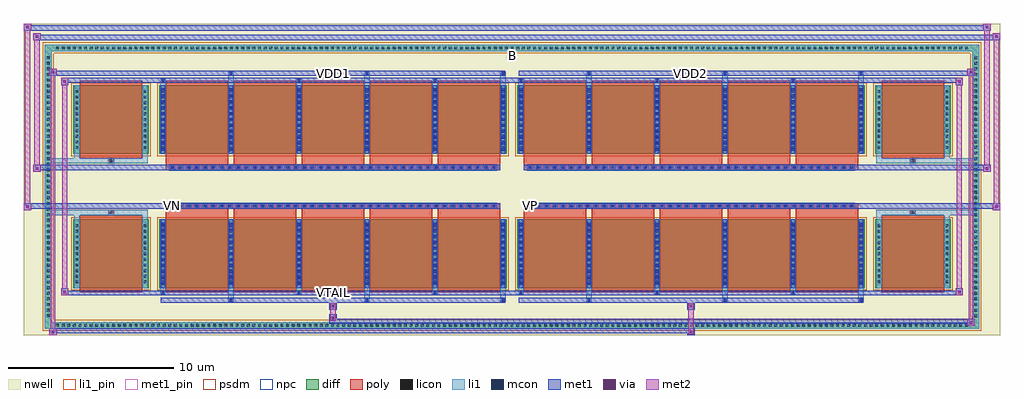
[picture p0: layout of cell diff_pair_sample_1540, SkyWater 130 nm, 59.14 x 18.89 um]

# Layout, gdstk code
import gdstk
lib = gdstk.Library(unit=1e-6, precision=5e-09)
def R(c, l, rs):  # rectangles x0, y0, x1, y1
    for r in rs: c.add(gdstk.rectangle(r[:2], r[2:], *l))
def A(c, l, x, y, w, h, nx, ny, dx, dy):  # array of equal rectangles
    R(c, l, [(x+i*dx, y+j*dy, x+i*dx+w, y+j*dy+h) for i in range(nx) for j in range(ny)])
def P(c, l, *ps):  # polygons
    for p in ps: c.add(gdstk.Polygon(p, *l))
nwell = (64, 20)
diff = (65, 20)
poly = (66, 20)
licon = (66, 44)
li1_pin = (67, 16)
li1 = (67, 20)
mcon = (67, 44)
met1_pin = (68, 16)
met1 = (68, 20)
via = (68, 44)
met2 = (69, 20)
psdm = (94, 20)
npc = (95, 20)

diff_pair_sample_1540 = lib.new_cell('diff_pair_sample_1540')
R(diff_pair_sample_1540, nwell, [(-29.57,-9.01,29.57,9.88), (-26.89,-7.2,-0.01,-0.8), (0.01,-7.2,26.89,-0.8), (-26.89,0.8,-0.01,7.2), (0.01,0.8,26.89,7.2)])
A(diff_pair_sample_1540, diff, -27.745, -8.61, 0.41, 0.41, 163, 2, 0.34, 16.81)
A(diff_pair_sample_1540, diff, -28.3, -8.025, 0.41, 0.41, 1, 47, 0, 0.34)
A(diff_pair_sample_1540, diff, 27.89, -8.025, 0.41, 0.41, 1, 47, 0, 0.34)
R(diff_pair_sample_1540, diff, [(-27.745,-8.61,27.745,-8.2), (-28.3,-8.025,-27.89,8.025), (27.89,-8.025,28.3,8.025), (-26.58,-6.155,-22.01,-1.985), (-21.37,-6.155,-0.32,-1.985), (0.32,-6.155,21.37,-1.985), (22.01,-6.155,26.58,-1.985), (-26.58,1.985,-22.01,6.155), (-21.37,1.985,-0.32,6.155), (0.32,1.985,21.37,6.155), (22.01,1.985,26.58,6.155), (-27.745,8.2,27.745,8.61)])
P(diff_pair_sample_1540, diff, [(28.3,8.61),(-28.3,8.61),(-28.3,-8.2),(-27.89,-8.2),(-27.89,8.2),(27.89,8.2),(27.89,-8.2),(-27.89,-8.2),(-28.3,-8.2),(-28.3,-8.61),(28.3,-8.61)])
A(diff_pair_sample_1540, poly, -20.98, -6.405, 3.79, 4.67, 5, 2, 4.12, 8.14)
A(diff_pair_sample_1540, poly, 0.71, -6.405, 3.79, 4.67, 5, 2, 4.12, 8.14)
A(diff_pair_sample_1540, poly, -20.98, -1.735, 3.79, 0.405, 5, 2, 4.12, 3.065)
A(diff_pair_sample_1540, poly, 0.71, -1.735, 3.79, 0.405, 5, 2, 4.12, 3.065)
A(diff_pair_sample_1540, poly, -20.76, -1.33, 0.33, 0.33, 40, 2, 0.5, 2.33)
A(diff_pair_sample_1540, poly, 0.93, -1.33, 0.33, 0.33, 40, 2, 0.5, 2.33)
R(diff_pair_sample_1540, poly, [(-26.19,-6.405,-22.4,-1.735), (22.4,-6.405,26.19,-1.735), (-24.46,-1.735,-24.13,-1.405), (-24.46,-1.735,-24.13,-1.405), (24.13,-1.735,24.46,-1.405), (24.13,-1.735,24.46,-1.405), (-20.98,-1.33,-0.71,-1), (0.71,-1.33,20.98,-1), (-20.98,1,-0.71,1.33), (0.71,1,20.98,1.33), (-24.46,1.405,-24.13,1.735), (-24.46,1.405,-24.13,1.735), (24.13,1.405,24.46,1.735), (24.13,1.405,24.46,1.735), (-26.19,1.735,-22.4,6.405), (22.4,1.735,26.19,6.405)])
A(diff_pair_sample_1540, licon, -27.625, -8.49, 0.17, 0.17, 163, 2, 0.34, 16.81)
A(diff_pair_sample_1540, licon, -28.18, -7.905, 0.17, 0.17, 1, 47, 0, 0.34)
A(diff_pair_sample_1540, licon, 28.01, -7.905, 0.17, 0.17, 1, 47, 0, 0.34)
A(diff_pair_sample_1540, licon, -26.44, -5.855, 0.17, 0.17, 1, 11, 0, 0.34)
A(diff_pair_sample_1540, licon, -22.32, -5.855, 0.17, 0.17, 1, 11, 0, 0.34)
A(diff_pair_sample_1540, licon, -21.23, -5.855, 0.17, 0.17, 6, 11, 4.12, 0.34)
A(diff_pair_sample_1540, licon, 0.46, -5.855, 0.17, 0.17, 6, 11, 4.12, 0.34)
A(diff_pair_sample_1540, licon, 22.15, -5.855, 0.17, 0.17, 1, 11, 0, 0.34)
A(diff_pair_sample_1540, licon, 26.27, -5.855, 0.17, 0.17, 1, 11, 0, 0.34)
A(diff_pair_sample_1540, licon, -20.68, -1.25, 0.17, 0.17, 40, 2, 0.5, 2.33)
A(diff_pair_sample_1540, licon, 1.01, -1.25, 0.17, 0.17, 40, 2, 0.5, 2.33)
A(diff_pair_sample_1540, licon, -26.44, 2.285, 0.17, 0.17, 1, 11, 0, 0.34)
A(diff_pair_sample_1540, licon, -22.32, 2.285, 0.17, 0.17, 1, 11, 0, 0.34)
A(diff_pair_sample_1540, licon, -21.23, 2.285, 0.17, 0.17, 6, 11, 4.12, 0.34)
A(diff_pair_sample_1540, licon, 0.46, 2.285, 0.17, 0.17, 6, 11, 4.12, 0.34)
A(diff_pair_sample_1540, licon, 22.15, 2.285, 0.17, 0.17, 1, 11, 0, 0.34)
A(diff_pair_sample_1540, licon, 26.27, 2.285, 0.17, 0.17, 1, 11, 0, 0.34)
R(diff_pair_sample_1540, licon, [(-24.38,-1.655,-24.21,-1.485), (24.21,-1.655,24.38,-1.485), (-24.38,1.485,-24.21,1.655), (24.21,1.485,24.38,1.655)])
R(diff_pair_sample_1540, li1_pin, [(-0.25,7.7,0.25,8.2)])
A(diff_pair_sample_1540, li1, -27.705, -8.57, 0.33, 0.33, 163, 2, 0.34, 16.81)
A(diff_pair_sample_1540, li1, -28.26, -7.985, 0.33, 0.33, 1, 47, 0, 0.34)
A(diff_pair_sample_1540, li1, 27.93, -7.985, 0.33, 0.33, 1, 47, 0, 0.34)
A(diff_pair_sample_1540, li1, -17.19, -6.96, 0.33, 0.805, 3, 2, 8.24, 13.115)
A(diff_pair_sample_1540, li1, -17.11, -6.96, 0.17, 0.17, 3, 2, 8.24, 13.75)
A(diff_pair_sample_1540, li1, 4.5, -6.96, 0.33, 0.805, 3, 2, 8.24, 13.115)
A(diff_pair_sample_1540, li1, 4.58, -6.96, 0.17, 0.17, 3, 2, 8.24, 13.75)
A(diff_pair_sample_1540, li1, -21.31, -6.53, 0.33, 0.375, 3, 2, 8.24, 12.685)
A(diff_pair_sample_1540, li1, -21.23, -6.53, 0.17, 0.17, 3, 2, 8.24, 12.89)
A(diff_pair_sample_1540, li1, 0.38, -6.53, 0.33, 0.375, 3, 2, 8.24, 12.685)
A(diff_pair_sample_1540, li1, 0.46, -6.53, 0.17, 0.17, 3, 2, 8.24, 12.89)
A(diff_pair_sample_1540, li1, -21.31, -6.155, 0.33, 4.17, 6, 2, 4.12, 8.14)
A(diff_pair_sample_1540, li1, 0.38, -6.155, 0.33, 4.17, 6, 2, 4.12, 8.14)
A(diff_pair_sample_1540, li1, -21.23, -5.955, 0.17, 0.17, 6, 11, 4.12, 0.36)
A(diff_pair_sample_1540, li1, -21.23, -5.955, 0.17, 3.77, 6, 2, 4.12, 8.14)
A(diff_pair_sample_1540, li1, 0.46, -5.955, 0.17, 0.17, 6, 11, 4.12, 0.36)
A(diff_pair_sample_1540, li1, 0.46, -5.955, 0.17, 3.77, 6, 2, 4.12, 8.14)
A(diff_pair_sample_1540, li1, -26.52, -5.935, 0.33, 0.33, 1, 11, 0, 0.34)
A(diff_pair_sample_1540, li1, -22.4, -5.935, 0.33, 0.33, 1, 11, 0, 0.34)
A(diff_pair_sample_1540, li1, -21.31, -5.935, 0.33, 0.33, 6, 11, 4.12, 0.34)
A(diff_pair_sample_1540, li1, 0.38, -5.935, 0.33, 0.33, 6, 11, 4.12, 0.34)
A(diff_pair_sample_1540, li1, 22.07, -5.935, 0.33, 0.33, 1, 11, 0, 0.34)
A(diff_pair_sample_1540, li1, 26.19, -5.935, 0.33, 0.33, 1, 11, 0, 0.34)
A(diff_pair_sample_1540, li1, -20.76, -1.33, 0.33, 0.33, 40, 2, 0.5, 2.33)
A(diff_pair_sample_1540, li1, 0.93, -1.33, 0.33, 0.33, 40, 2, 0.5, 2.33)
A(diff_pair_sample_1540, li1, -21.23, 2.185, 0.17, 0.17, 6, 11, 4.12, 0.36)
A(diff_pair_sample_1540, li1, 0.46, 2.185, 0.17, 0.17, 6, 11, 4.12, 0.36)
A(diff_pair_sample_1540, li1, -26.52, 2.205, 0.33, 0.33, 1, 11, 0, 0.34)
A(diff_pair_sample_1540, li1, -22.4, 2.205, 0.33, 0.33, 1, 11, 0, 0.34)
A(diff_pair_sample_1540, li1, -21.31, 2.205, 0.33, 0.33, 6, 11, 4.12, 0.34)
A(diff_pair_sample_1540, li1, 0.38, 2.205, 0.33, 0.33, 6, 11, 4.12, 0.34)
A(diff_pair_sample_1540, li1, 22.07, 2.205, 0.33, 0.33, 1, 11, 0, 0.34)
A(diff_pair_sample_1540, li1, 26.19, 2.205, 0.33, 0.33, 1, 11, 0, 0.34)
R(diff_pair_sample_1540, li1, [(-28.3,-8.61,-27.89,-8.2), (-28.3,-8.61,-27.89,-8.2), (-27.89,-8.61,27.89,-8.2), (27.89,-8.61,28.3,-8.2), (27.89,-8.61,28.3,-8.2), (-28.3,-8.2,-27.89,8.2), (27.89,-8.2,28.3,8.2), (-26.52,-6.155,-26.19,-1.985), (-22.4,-6.155,-22.07,-1.985), (22.07,-6.155,22.4,-1.985), (26.19,-6.155,26.52,-1.985), (-26.52,-1.985,-26.19,-1.405), (-22.4,-1.985,-22.07,-1.405), (22.07,-1.985,22.4,-1.405), (26.19,-1.985,26.52,-1.405), (-28.3,-1.735,-24.46,-1.405), (-26.52,-1.735,-24.46,-1.405), (-24.46,-1.735,-24.13,-1.405), (-24.13,-1.735,-22.07,-1.405), (22.07,-1.735,24.13,-1.405), (24.13,-1.735,24.46,-1.405), (24.13,-1.735,28.3,-1.405), (24.46,-1.735,26.52,-1.405), (-28.3,1.405,-24.46,1.735), (-26.52,1.405,-24.46,1.735), (-26.52,1.405,-26.19,1.985), (-24.46,1.405,-24.13,1.735), (-24.13,1.405,-22.07,1.735), (-22.4,1.405,-22.07,1.985), (22.07,1.405,24.13,1.735), (22.07,1.405,22.4,1.985), (24.13,1.405,24.46,1.735), (24.13,1.405,28.3,1.735), (24.46,1.405,26.52,1.735), (26.19,1.405,26.52,1.985), (-26.52,1.985,-26.19,6.155), (-22.4,1.985,-22.07,6.155), (22.07,1.985,22.4,6.155), (26.19,1.985,26.52,6.155), (-28.3,8.2,-27.89,8.61), (-28.3,8.2,-27.89,8.61), (-27.89,8.2,27.89,8.61), (27.89,8.2,28.3,8.61), (27.89,8.2,28.3,8.61)])
A(diff_pair_sample_1540, mcon, -17.11, -6.96, 0.17, 0.17, 3, 2, 8.24, 13.75)
A(diff_pair_sample_1540, mcon, 4.58, -6.96, 0.17, 0.17, 3, 2, 8.24, 13.75)
A(diff_pair_sample_1540, mcon, -21.23, -6.53, 0.17, 0.17, 3, 2, 8.24, 12.89)
A(diff_pair_sample_1540, mcon, 0.46, -6.53, 0.17, 0.17, 3, 2, 8.24, 12.89)
A(diff_pair_sample_1540, mcon, -21.23, -5.955, 0.17, 0.17, 6, 11, 4.12, 0.36)
A(diff_pair_sample_1540, mcon, 0.46, -5.955, 0.17, 0.17, 6, 11, 4.12, 0.36)
A(diff_pair_sample_1540, mcon, -20.68, -1.25, 0.17, 0.17, 40, 2, 0.5, 2.33)
A(diff_pair_sample_1540, mcon, 1.01, -1.25, 0.17, 0.17, 40, 2, 0.5, 2.33)
A(diff_pair_sample_1540, mcon, -21.23, 2.185, 0.17, 0.17, 6, 11, 4.12, 0.36)
A(diff_pair_sample_1540, mcon, 0.46, 2.185, 0.17, 0.17, 6, 11, 4.12, 0.36)
R(diff_pair_sample_1540, met1_pin, [(-10.98,-6.57,-10.71,-6.3), (-20.73,-1.29,-20.46,-1.02), (0.96,-1.29,1.23,-1.02), (-10.98,6.75,-10.71,7.02), (10.71,6.75,10.98,7.02)])
A(diff_pair_sample_1540, met1, -17.17, -7.02, 0.29, 0.29, 3, 2, 8.24, 13.75)
A(diff_pair_sample_1540, met1, 4.52, -7.02, 0.29, 0.29, 3, 2, 8.24, 13.75)
A(diff_pair_sample_1540, met1, -21.29, -6.59, 0.29, 0.29, 3, 2, 8.24, 12.89)
A(diff_pair_sample_1540, met1, 0.4, -6.59, 0.29, 0.29, 3, 2, 8.24, 12.89)
A(diff_pair_sample_1540, met1, -21.29, -6.155, 0.29, 4.17, 6, 2, 4.12, 8.14)
A(diff_pair_sample_1540, met1, 0.4, -6.155, 0.29, 4.17, 6, 2, 4.12, 8.14)
A(diff_pair_sample_1540, met1, -21.29, -6.015, 0.29, 0.29, 6, 11, 4.12, 0.36)
A(diff_pair_sample_1540, met1, 0.4, -6.015, 0.29, 0.29, 6, 11, 4.12, 0.36)
A(diff_pair_sample_1540, met1, -20.74, -1.31, 0.29, 0.29, 40, 2, 0.5, 2.33)
A(diff_pair_sample_1540, met1, 0.95, -1.31, 0.29, 0.29, 40, 2, 0.5, 2.33)
A(diff_pair_sample_1540, met1, -21.29, 2.125, 0.29, 0.29, 6, 11, 4.12, 0.36)
A(diff_pair_sample_1540, met1, 0.4, 2.125, 0.29, 0.29, 6, 11, 4.12, 0.36)
R(diff_pair_sample_1540, met1, [(-28.03,-9.01,-27.6,-8.58), (10.63,-9.01,11.06,-8.58), (-28.03,-8.87,11.06,-8.58), (27.6,-8.44,28.03,-8.01), (-11.06,-8.3,28.03,-8.01), (-11.06,-8.16,-10.63,-7.73), (-11.06,-7.45,-10.63,-7.02), (10.63,-7.45,11.06,-7.02), (-21.29,-7.02,-0.4,-6.73), (0.4,-7.02,21.29,-6.73), (-27.32,-6.59,-26.89,-6.16), (-27.32,-6.59,-21.29,-6.3), (-21.29,-6.59,-0.4,-6.3), (-0.4,-6.59,0.4,-6.3), (0.4,-6.59,21.29,-6.3), (21.29,-6.59,27.32,-6.3), (26.89,-6.59,27.32,-6.16), (-29.57,-1.43,-29.14,-1), (29.14,-1.43,29.57,-1), (-29.57,-1.33,-0.71,-1), (-20.98,-1.33,-0.71,-1), (0.71,-1.33,20.98,-1), (0.71,-1.33,29.57,-1), (-29,0.9,-28.57,1.33), (28.57,0.9,29,1.33), (-29,1,-20.98,1.33), (-20.98,1,-0.71,1.33), (0.71,1,20.98,1.33), (20.98,1,29,1.33), (-27.32,6.16,-26.89,6.59), (26.89,6.16,27.32,6.59), (-27.32,6.3,-21.29,6.59), (-21.29,6.3,-0.4,6.59), (-0.4,6.3,0.4,6.59), (0.4,6.3,21.29,6.59), (21.29,6.3,27.32,6.59), (-28.03,6.73,-27.6,7.16), (-28.03,6.73,-21.29,7.02), (-21.29,6.73,-0.4,7.02), (0.4,6.73,21.29,7.02), (21.29,6.73,28.03,7.02), (27.6,6.73,28.03,7.16), (-29,8.88,-28.57,9.31), (-29,8.88,-26.89,9.21), (-26.89,8.88,26.89,9.21), (26.89,8.88,29.57,9.21), (29.14,8.88,29.57,9.31), (-29.57,9.45,-29.14,9.88), (-29.57,9.45,-26.89,9.78), (-26.89,9.45,26.89,9.78), (26.89,9.45,29,9.78), (28.57,9.45,29,9.88)])
R(diff_pair_sample_1540, via, [(-27.89,-8.87,-27.74,-8.72), (10.77,-8.87,10.92,-8.72), (27.74,-8.3,27.89,-8.15), (-10.92,-8.02,-10.77,-7.87), (-10.92,-7.31,-10.77,-7.16), (10.77,-7.31,10.92,-7.16), (-27.18,-6.45,-27.03,-6.3), (27.03,-6.45,27.18,-6.3), (-29.43,-1.29,-29.28,-1.14), (29.28,-1.29,29.43,-1.14), (-28.86,1.04,-28.71,1.19), (28.71,1.04,28.86,1.19), (-27.18,6.3,-27.03,6.45), (27.03,6.3,27.18,6.45), (-27.89,6.87,-27.74,7.02), (27.74,6.87,27.89,7.02), (-28.86,9.02,-28.71,9.17), (29.28,9.02,29.43,9.17), (-29.43,9.59,-29.28,9.74), (28.71,9.59,28.86,9.74)])
R(diff_pair_sample_1540, met2, [(-28.03,-9.01,-27.6,-8.58), (-27.96,-9.01,-27.67,7.16), (-27.67,-9.01,-27.6,-8.58), (-27.98,-8.96,-27.65,-8.63), (10.68,-8.96,11.01,-8.63), (10.68,-8.63,11.01,-7.4), (27.6,-8.44,28.03,-8.01), (27.67,-8.44,27.96,7.16), (27.96,-8.44,28.03,-8.01), (27.65,-8.39,27.98,-8.06), (-11.01,-8.11,-10.68,-7.78), (-11.01,-7.78,-10.68,-7.4), (-11.01,-7.4,-10.68,-7.07), (10.68,-7.4,11.01,-7.07), (-27.32,-6.59,-26.89,-6.16), (-27.25,-6.59,-26.96,6.59), (-26.96,-6.59,-26.89,-6.16), (26.89,-6.59,27.32,-6.16), (26.96,-6.59,27.25,6.59), (27.25,-6.59,27.32,-6.16), (-27.27,-6.54,-26.94,-6.21), (26.94,-6.54,27.27,-6.21), (-29.57,-1.43,-29.14,-1), (-29.52,-1.43,-29.19,9.88), (-29.19,-1.43,-29.14,-1), (29.14,-1.43,29.57,-1), (29.19,-1.43,29.52,9.31), (29.52,-1.43,29.57,-1), (-29.52,-1.38,-29.19,-1.05), (29.19,-1.38,29.52,-1.05), (-29,0.9,-28.57,1.33), (-28.95,0.9,-28.62,9.31), (-28.62,0.9,-28.57,1.33), (28.57,0.9,29,1.33), (28.62,0.9,28.95,9.88), (28.95,0.9,29,1.33), (-28.95,0.95,-28.62,1.28), (28.62,0.95,28.95,1.28), (-27.32,6.16,-26.89,6.59), (-26.96,6.16,-26.89,6.59), (26.89,6.16,27.32,6.59), (27.25,6.16,27.32,6.59), (-27.27,6.21,-26.94,6.54), (26.94,6.21,27.27,6.54), (-28.03,6.73,-27.6,7.16), (-27.67,6.73,-27.6,7.16), (27.6,6.73,28.03,7.16), (27.96,6.73,28.03,7.16), (-27.98,6.78,-27.65,7.11), (27.65,6.78,27.98,7.11), (-29,8.88,-28.57,9.31), (-28.62,8.88,-28.57,9.31), (29.14,8.88,29.57,9.31), (29.52,8.88,29.57,9.31), (-28.95,8.93,-28.62,9.26), (29.19,8.93,29.52,9.26), (-29.57,9.45,-29.14,9.88), (-29.19,9.45,-29.14,9.88), (28.57,9.45,29,9.88), (28.95,9.45,29,9.88), (-29.52,9.5,-29.19,9.83), (28.62,9.5,28.95,9.83)])
R(diff_pair_sample_1540, psdm, [(-26.71,-6.285,-21.88,-1.855), (-21.5,-6.285,-0.19,-1.855), (0.19,-6.285,21.5,-1.855), (21.88,-6.285,26.71,-1.855), (-26.71,1.855,-21.88,6.285), (-21.5,1.855,-0.19,6.285), (0.19,1.855,21.5,6.285), (21.88,1.855,26.71,6.285)])
P(diff_pair_sample_1540, psdm, [(28.43,8.74),(-28.43,8.74),(-28.43,-8.07),(-27.76,-8.07),(-27.76,8.07),(27.76,8.07),(27.76,-8.07),(-27.76,-8.07),(-28.43,-8.07),(-28.43,-8.74),(28.43,-8.74)])
A(diff_pair_sample_1540, npc, -20.78, -1.35, 0.37, 0.37, 40, 2, 0.5, 2.33)
A(diff_pair_sample_1540, npc, 0.91, -1.35, 0.37, 0.37, 40, 2, 0.5, 2.33)
R(diff_pair_sample_1540, npc, [(-24.48,-1.755,-24.11,-1.385), (24.11,-1.755,24.48,-1.385), (-20.78,-1.35,-19.91,-0.98), (-20.78,-1.35,-19.91,-0.98), (-20.28,-1.35,-19.41,-0.98), (-20.28,-1.35,-19.41,-0.98), (-19.78,-1.35,-18.91,-0.98), (-19.78,-1.35,-18.91,-0.98), (-19.28,-1.35,-18.41,-0.98), (-19.28,-1.35,-18.41,-0.98), (-18.78,-1.35,-17.91,-0.98), (-18.78,-1.35,-17.91,-0.98), (-18.28,-1.35,-17.41,-0.98), (-18.28,-1.35,-17.41,-0.98), (-17.78,-1.35,-16.91,-0.98), (-17.78,-1.35,-16.91,-0.98), (-17.28,-1.35,-16.41,-0.98), (-17.28,-1.35,-16.41,-0.98), (-16.78,-1.35,-15.91,-0.98), (-16.78,-1.35,-15.91,-0.98), (-16.28,-1.35,-15.41,-0.98), (-16.28,-1.35,-15.41,-0.98), (-15.78,-1.35,-14.91,-0.98), (-15.78,-1.35,-14.91,-0.98), (-15.28,-1.35,-14.41,-0.98), (-15.28,-1.35,-14.41,-0.98), (-14.78,-1.35,-13.91,-0.98), (-14.78,-1.35,-13.91,-0.98), (-14.28,-1.35,-13.41,-0.98), (-14.28,-1.35,-13.41,-0.98), (-13.78,-1.35,-12.91,-0.98), (-13.78,-1.35,-12.91,-0.98), (-13.28,-1.35,-12.41,-0.98), (-13.28,-1.35,-12.41,-0.98), (-12.78,-1.35,-11.91,-0.98), (-12.78,-1.35,-11.91,-0.98), (-12.28,-1.35,-11.41,-0.98), (-12.28,-1.35,-11.41,-0.98), (-11.78,-1.35,-10.91,-0.98), (-11.78,-1.35,-10.91,-0.98), (-11.28,-1.35,-10.41,-0.98), (-11.28,-1.35,-10.41,-0.98), (-10.78,-1.35,-9.91,-0.98), (-10.78,-1.35,-9.91,-0.98), (-10.28,-1.35,-9.41,-0.98), (-10.28,-1.35,-9.41,-0.98), (-9.78,-1.35,-8.91,-0.98), (-9.78,-1.35,-8.91,-0.98), (-9.28,-1.35,-8.41,-0.98), (-9.28,-1.35,-8.41,-0.98), (-8.78,-1.35,-7.91,-0.98), (-8.78,-1.35,-7.91,-0.98), (-8.28,-1.35,-7.41,-0.98), (-8.28,-1.35,-7.41,-0.98), (-7.78,-1.35,-6.91,-0.98), (-7.78,-1.35,-6.91,-0.98), (-7.28,-1.35,-6.41,-0.98), (-7.28,-1.35,-6.41,-0.98), (-6.78,-1.35,-5.91,-0.98), (-6.78,-1.35,-5.91,-0.98), (-6.28,-1.35,-5.41,-0.98), (-6.28,-1.35,-5.41,-0.98), (-5.78,-1.35,-4.91,-0.98), (-5.78,-1.35,-4.91,-0.98), (-5.28,-1.35,-4.41,-0.98), (-5.28,-1.35,-4.41,-0.98), (-4.78,-1.35,-3.91,-0.98), (-4.78,-1.35,-3.91,-0.98), (-4.28,-1.35,-3.41,-0.98), (-4.28,-1.35,-3.41,-0.98), (-3.78,-1.35,-2.91,-0.98), (-3.78,-1.35,-2.91,-0.98), (-3.28,-1.35,-2.41,-0.98), (-3.28,-1.35,-2.41,-0.98), (-2.78,-1.35,-1.91,-0.98), (-2.78,-1.35,-1.91,-0.98), (-2.28,-1.35,-1.41,-0.98), (-2.28,-1.35,-1.41,-0.98), (-1.78,-1.35,-0.91,-0.98), (-1.78,-1.35,-0.91,-0.98), (0.91,-1.35,1.78,-0.98), (0.91,-1.35,1.78,-0.98), (1.41,-1.35,2.28,-0.98), (1.41,-1.35,2.28,-0.98), (1.91,-1.35,2.78,-0.98), (1.91,-1.35,2.78,-0.98), (2.41,-1.35,3.28,-0.98), (2.41,-1.35,3.28,-0.98), (2.91,-1.35,3.78,-0.98), (2.91,-1.35,3.78,-0.98), (3.41,-1.35,4.28,-0.98), (3.41,-1.35,4.28,-0.98), (3.91,-1.35,4.78,-0.98), (3.91,-1.35,4.78,-0.98), (4.41,-1.35,5.28,-0.98), (4.41,-1.35,5.28,-0.98), (4.91,-1.35,5.78,-0.98), (4.91,-1.35,5.78,-0.98), (5.41,-1.35,6.28,-0.98), (5.41,-1.35,6.28,-0.98), (5.91,-1.35,6.78,-0.98), (5.91,-1.35,6.78,-0.98), (6.41,-1.35,7.28,-0.98), (6.41,-1.35,7.28,-0.98), (6.91,-1.35,7.78,-0.98), (6.91,-1.35,7.78,-0.98), (7.41,-1.35,8.28,-0.98), (7.41,-1.35,8.28,-0.98), (7.91,-1.35,8.78,-0.98), (7.91,-1.35,8.78,-0.98), (8.41,-1.35,9.28,-0.98), (8.41,-1.35,9.28,-0.98), (8.91,-1.35,9.78,-0.98), (8.91,-1.35,9.78,-0.98), (9.41,-1.35,10.28,-0.98), (9.41,-1.35,10.28,-0.98), (9.91,-1.35,10.78,-0.98), (9.91,-1.35,10.78,-0.98), (10.41,-1.35,11.28,-0.98), (10.41,-1.35,11.28,-0.98), (10.91,-1.35,11.78,-0.98), (10.91,-1.35,11.78,-0.98), (11.41,-1.35,12.28,-0.98), (11.41,-1.35,12.28,-0.98), (11.91,-1.35,12.78,-0.98), (11.91,-1.35,12.78,-0.98), (12.41,-1.35,13.28,-0.98), (12.41,-1.35,13.28,-0.98), (12.91,-1.35,13.78,-0.98), (12.91,-1.35,13.78,-0.98), (13.41,-1.35,14.28,-0.98), (13.41,-1.35,14.28,-0.98), (13.91,-1.35,14.78,-0.98), (13.91,-1.35,14.78,-0.98), (14.41,-1.35,15.28,-0.98), (14.41,-1.35,15.28,-0.98), (14.91,-1.35,15.78,-0.98), (14.91,-1.35,15.78,-0.98), (15.41,-1.35,16.28,-0.98), (15.41,-1.35,16.28,-0.98), (15.91,-1.35,16.78,-0.98), (15.91,-1.35,16.78,-0.98), (16.41,-1.35,17.28,-0.98), (16.41,-1.35,17.28,-0.98), (16.91,-1.35,17.78,-0.98), (16.91,-1.35,17.78,-0.98), (17.41,-1.35,18.28,-0.98), (17.41,-1.35,18.28,-0.98), (17.91,-1.35,18.78,-0.98), (17.91,-1.35,18.78,-0.98), (18.41,-1.35,19.28,-0.98), (18.41,-1.35,19.28,-0.98), (18.91,-1.35,19.78,-0.98), (18.91,-1.35,19.78,-0.98), (19.41,-1.35,20.28,-0.98), (19.41,-1.35,20.28,-0.98), (19.91,-1.35,20.78,-0.98), (19.91,-1.35,20.78,-0.98), (-20.78,0.98,-19.91,1.35), (-20.78,0.98,-19.91,1.35), (-20.28,0.98,-19.41,1.35), (-20.28,0.98,-19.41,1.35), (-19.78,0.98,-18.91,1.35), (-19.78,0.98,-18.91,1.35), (-19.28,0.98,-18.41,1.35), (-19.28,0.98,-18.41,1.35), (-18.78,0.98,-17.91,1.35), (-18.78,0.98,-17.91,1.35), (-18.28,0.98,-17.41,1.35), (-18.28,0.98,-17.41,1.35), (-17.78,0.98,-16.91,1.35), (-17.78,0.98,-16.91,1.35), (-17.28,0.98,-16.41,1.35), (-17.28,0.98,-16.41,1.35), (-16.78,0.98,-15.91,1.35), (-16.78,0.98,-15.91,1.35), (-16.28,0.98,-15.41,1.35), (-16.28,0.98,-15.41,1.35), (-15.78,0.98,-14.91,1.35), (-15.78,0.98,-14.91,1.35), (-15.28,0.98,-14.41,1.35), (-15.28,0.98,-14.41,1.35), (-14.78,0.98,-13.91,1.35), (-14.78,0.98,-13.91,1.35), (-14.28,0.98,-13.41,1.35), (-14.28,0.98,-13.41,1.35), (-13.78,0.98,-12.91,1.35), (-13.78,0.98,-12.91,1.35), (-13.28,0.98,-12.41,1.35), (-13.28,0.98,-12.41,1.35), (-12.78,0.98,-11.91,1.35), (-12.78,0.98,-11.91,1.35), (-12.28,0.98,-11.41,1.35), (-12.28,0.98,-11.41,1.35), (-11.78,0.98,-10.91,1.35), (-11.78,0.98,-10.91,1.35), (-11.28,0.98,-10.41,1.35), (-11.28,0.98,-10.41,1.35), (-10.78,0.98,-9.91,1.35), (-10.78,0.98,-9.91,1.35), (-10.28,0.98,-9.41,1.35), (-10.28,0.98,-9.41,1.35), (-9.78,0.98,-8.91,1.35), (-9.78,0.98,-8.91,1.35), (-9.28,0.98,-8.41,1.35), (-9.28,0.98,-8.41,1.35), (-8.78,0.98,-7.91,1.35), (-8.78,0.98,-7.91,1.35), (-8.28,0.98,-7.41,1.35), (-8.28,0.98,-7.41,1.35), (-7.78,0.98,-6.91,1.35), (-7.78,0.98,-6.91,1.35), (-7.28,0.98,-6.41,1.35), (-7.28,0.98,-6.41,1.35), (-6.78,0.98,-5.91,1.35), (-6.78,0.98,-5.91,1.35), (-6.28,0.98,-5.41,1.35), (-6.28,0.98,-5.41,1.35), (-5.78,0.98,-4.91,1.35), (-5.78,0.98,-4.91,1.35), (-5.28,0.98,-4.41,1.35), (-5.28,0.98,-4.41,1.35), (-4.78,0.98,-3.91,1.35), (-4.78,0.98,-3.91,1.35), (-4.28,0.98,-3.41,1.35), (-4.28,0.98,-3.41,1.35), (-3.78,0.98,-2.91,1.35), (-3.78,0.98,-2.91,1.35), (-3.28,0.98,-2.41,1.35), (-3.28,0.98,-2.41,1.35), (-2.78,0.98,-1.91,1.35), (-2.78,0.98,-1.91,1.35), (-2.28,0.98,-1.41,1.35), (-2.28,0.98,-1.41,1.35), (-1.78,0.98,-0.91,1.35), (-1.78,0.98,-0.91,1.35), (0.91,0.98,1.78,1.35), (0.91,0.98,1.78,1.35), (1.41,0.98,2.28,1.35), (1.41,0.98,2.28,1.35), (1.91,0.98,2.78,1.35), (1.91,0.98,2.78,1.35), (2.41,0.98,3.28,1.35), (2.41,0.98,3.28,1.35), (2.91,0.98,3.78,1.35), (2.91,0.98,3.78,1.35), (3.41,0.98,4.28,1.35), (3.41,0.98,4.28,1.35), (3.91,0.98,4.78,1.35), (3.91,0.98,4.78,1.35), (4.41,0.98,5.28,1.35), (4.41,0.98,5.28,1.35), (4.91,0.98,5.78,1.35), (4.91,0.98,5.78,1.35), (5.41,0.98,6.28,1.35), (5.41,0.98,6.28,1.35), (5.91,0.98,6.78,1.35), (5.91,0.98,6.78,1.35), (6.41,0.98,7.28,1.35), (6.41,0.98,7.28,1.35), (6.91,0.98,7.78,1.35), (6.91,0.98,7.78,1.35), (7.41,0.98,8.28,1.35), (7.41,0.98,8.28,1.35), (7.91,0.98,8.78,1.35), (7.91,0.98,8.78,1.35), (8.41,0.98,9.28,1.35), (8.41,0.98,9.28,1.35), (8.91,0.98,9.78,1.35), (8.91,0.98,9.78,1.35), (9.41,0.98,10.28,1.35), (9.41,0.98,10.28,1.35), (9.91,0.98,10.78,1.35), (9.91,0.98,10.78,1.35), (10.41,0.98,11.28,1.35), (10.41,0.98,11.28,1.35), (10.91,0.98,11.78,1.35), (10.91,0.98,11.78,1.35), (11.41,0.98,12.28,1.35), (11.41,0.98,12.28,1.35), (11.91,0.98,12.78,1.35), (11.91,0.98,12.78,1.35), (12.41,0.98,13.28,1.35), (12.41,0.98,13.28,1.35), (12.91,0.98,13.78,1.35), (12.91,0.98,13.78,1.35), (13.41,0.98,14.28,1.35), (13.41,0.98,14.28,1.35), (13.91,0.98,14.78,1.35), (13.91,0.98,14.78,1.35), (14.41,0.98,15.28,1.35), (14.41,0.98,15.28,1.35), (14.91,0.98,15.78,1.35), (14.91,0.98,15.78,1.35), (15.41,0.98,16.28,1.35), (15.41,0.98,16.28,1.35), (15.91,0.98,16.78,1.35), (15.91,0.98,16.78,1.35), (16.41,0.98,17.28,1.35), (16.41,0.98,17.28,1.35), (16.91,0.98,17.78,1.35), (16.91,0.98,17.78,1.35), (17.41,0.98,18.28,1.35), (17.41,0.98,18.28,1.35), (17.91,0.98,18.78,1.35), (17.91,0.98,18.78,1.35), (18.41,0.98,19.28,1.35), (18.41,0.98,19.28,1.35), (18.91,0.98,19.78,1.35), (18.91,0.98,19.78,1.35), (19.41,0.98,20.28,1.35), (19.41,0.98,20.28,1.35), (19.91,0.98,20.78,1.35), (19.91,0.98,20.78,1.35), (-24.48,1.385,-24.11,1.755), (24.11,1.385,24.48,1.755)])
diff_pair_sample_1540.add(gdstk.Label('VTAIL', (-10.845,-6.435), layer=68, texttype=5))
diff_pair_sample_1540.add(gdstk.Label('VN', (-20.595,-1.155), layer=68, texttype=5))
diff_pair_sample_1540.add(gdstk.Label('VP', (1.095,-1.155), layer=68, texttype=5))
diff_pair_sample_1540.add(gdstk.Label('B', (0,7.95), layer=67, texttype=5))
diff_pair_sample_1540.add(gdstk.Label('VDD2', (10.845,6.885), layer=68, texttype=5))
diff_pair_sample_1540.add(gdstk.Label('VDD1', (-10.845,6.885), layer=68, texttype=5))

lib.write_gds('diff_pair_sample_1540.gds')
